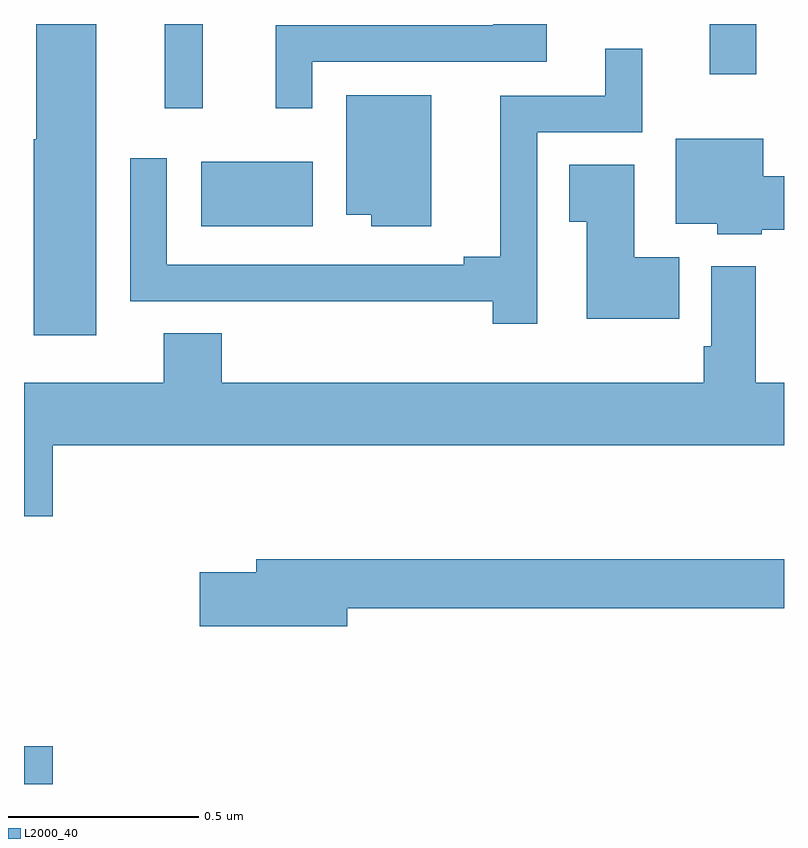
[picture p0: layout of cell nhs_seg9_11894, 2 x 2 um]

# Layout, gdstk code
import gdstk
lib = gdstk.Library(unit=1e-6, precision=1e-09)
def R(c, l, rs):  # rectangles x0, y0, x1, y1
    for r in rs: c.add(gdstk.rectangle(r[:2], r[2:], *l))
def P(c, l, *ps):  # polygons
    for p in ps: c.add(gdstk.Polygon(p, *l))
L2000_40 = (2000, 40)

nhs_seg9_11894 = lib.new_cell('nhs_seg9_11894')
R(nhs_seg9_11894, L2000_40, [(261,1223.5,261.076,1223.599), (261.467,1224.968,261.76,1225.138), (261.371,1225.278,261.47,1225.5), (262.805,1225.368,262.927,1225.5)])
P(nhs_seg9_11894, L2000_40, [(261.759,1225.401),(262.375,1225.401),(262.375,1225.5),(262.235,1225.5),(262.235,1225.497),(261.662,1225.497),(261.662,1225.278),(261.759,1225.278)],
  [(261.19,1225.5),(261.032,1225.5),(261.032,1225.197),(261.026,1225.197),(261.026,1224.681),(261.19,1224.681)],
  [(262.35,1225.215),(262.627,1225.215),(262.627,1225.435),(262.529,1225.435),(262.529,1225.311),(262.253,1225.311),(262.253,1224.887),(262.157,1224.887),(262.157,1224.867),(261.375,1224.867),(261.375,1225.147),(261.279,1225.147),(261.279,1224.771),(261.604,1224.771),(261.604,1224.77),(262.234,1224.77),(262.234,1224.711),(262.35,1224.711)],
  [(262.072,1225.312),(261.848,1225.312),(261.848,1224.998),(261.914,1224.998),(261.914,1224.968),(262.072,1224.968)],
  [(262.941,1224.958),(263,1224.958),(263,1225.1),(262.945,1225.1),(262.945,1225.198),(262.715,1225.198),(262.715,1224.974),(262.824,1224.974),(262.824,1224.947),(262.941,1224.947)],
  [(262.724,1224.886),(262.606,1224.886),(262.606,1225.13),(262.435,1225.13),(262.435,1224.979),(262.481,1224.979),(262.481,1224.725),(262.724,1224.725)],
  [(261.076,1224.392),(263,1224.392),(263,1224.556),(262.925,1224.556),(262.925,1224.862),(262.809,1224.862),(262.809,1224.652),(262.789,1224.652),(262.789,1224.556),(261.521,1224.556),(261.521,1224.686),(261.368,1224.686),(261.368,1224.556),(261,1224.556),(261,1224.204),(261.076,1224.204)],
  [(261.85,1223.962),(263,1223.962),(263,1224.091),(261.611,1224.091),(261.611,1224.057),(261.462,1224.057),(261.462,1223.915),(261.85,1223.915)])

lib.write_gds('nhs_seg9_11894.gds')
